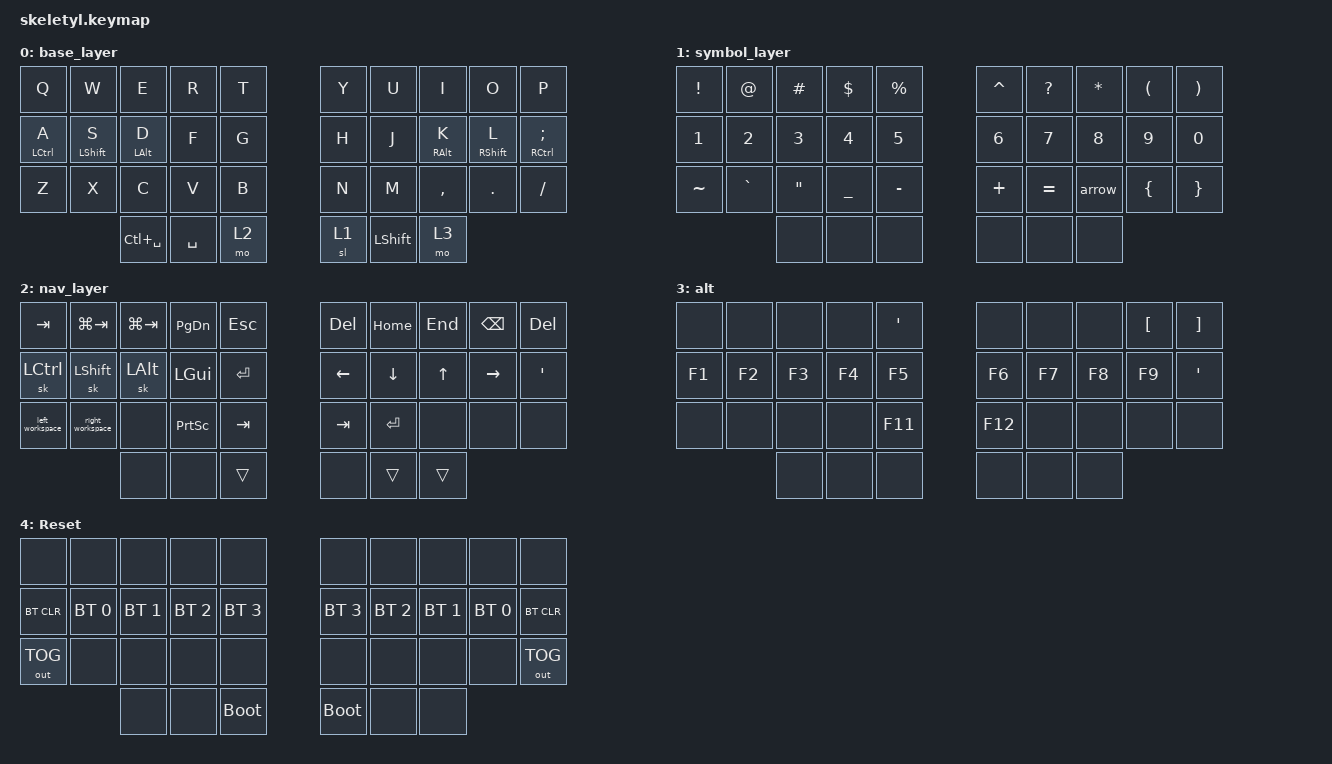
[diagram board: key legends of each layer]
#include <behaviors.dtsi>
#include <dt-bindings/zmk/bt.h>
#include <dt-bindings/zmk/keys.h>
#include <dt-bindings/zmk/outputs.h>

#define KEYS_L 0 1 2 3 4 10 11 12 13 14 20 21 22 23 24
#define KEYS_R 5 6 7 8 9 15 16 17 18 19 25 26 27 28 29
#define THUMBS 30 31 32 33 34 35
#define DEF 0
#define LWR 1
#define RSE 2
#define FUNCTION 3
#define GAME 4
#define RESET 5

&mt { flavor = "tap-preferred"; };

&lt {
    flavor = "balanced";
    tapping-term-ms = <200>;
    quick-tap-ms = <175>;
};

/ {
    behaviors {
        hml: hml {
            compatible = "zmk,behavior-hold-tap";
            #binding-cells = <2>;
            flavor = "balanced";
            tapping-term-ms = <2000>;
            quick-tap-ms = <175>;
            require-prior-idle-ms = <250>;
            hold-trigger-key-positions = <KEYS_R THUMBS>;
            hold-trigger-on-release;
            bindings = <&kp>, <&kp>;
        };

        hmr: hmr {
            compatible = "zmk,behavior-hold-tap";
            #binding-cells = <2>;
            flavor = "balanced";
            tapping-term-ms = <2000>;
            quick-tap-ms = <175>;
            require-prior-idle-ms = <250>;
            hold-trigger-key-positions = <KEYS_L THUMBS>;
            hold-trigger-on-release;
            bindings = <&kp>, <&kp>;
        };

        hml_s: hml_s {
            compatible = "zmk,behavior-hold-tap";
            #binding-cells = <2>;
            flavor = "balanced";
            tapping-term-ms = <2000>;
            quick-tap-ms = <175>;
            require-prior-idle-ms = <0>;
            hold-trigger-key-positions = <KEYS_R THUMBS>;
            hold-trigger-on-release;
            bindings = <&kp>, <&kp>;
        };

        hmr_s: hmr_s {
            compatible = "zmk,behavior-hold-tap";
            #binding-cells = <2>;
            flavor = "balanced";
            tapping-term-ms = <2000>;
            quick-tap-ms = <175>;
            require-prior-idle-ms = <0>;
            hold-trigger-key-positions = <KEYS_L THUMBS>;
            hold-trigger-on-release;
            bindings = <&kp>, <&kp>;
        };
    };

    combos {
        compatible = "zmk,combos";
        timeout-ms = <20>;
        require-prior-idle-ms = <250>;

        combo_reset_layer_left {
            key-positions = <20 24>;
            bindings = <&to 4>;
        };

        combo_reset_layer_right {
            key-positions = <25 29>;
            bindings = <&to 4>;
        };

        combo_unlock {
            key-positions = <0 4>;
            bindings = <&studio_unlock>;
        };
    };

    macros {
        arrow: arrow {
            compatible = "zmk,behavior-macro";
            #binding-cells = <0>;
            bindings = <&kp EQUAL &kp GT>;
            label = "ARROW";
        };

        left_workspace: left_workspace {
            compatible = "zmk,behavior-macro";
            #binding-cells = <0>;
            bindings = <&kp LEFT_CONTROL &kp LEFT_ALT &kp LEFT>;
            label = "LEFT_WORKSPACE";
        };

        right_workspace: right_workspace {
            compatible = "zmk,behavior-macro";
            #binding-cells = <0>;
            bindings = <&kp LEFT_CONTROL &kp LEFT_ALT &kp RIGHT>;
            label = "RIGHT_WORKSPACE";
        };

        alt_tab: alt_tab {
            compatible = "zmk,behavior-macro";
            #binding-cells = <0>;
            bindings = <&kp LEFT_ALT &kp TAB>;
            label = "ALT_TAB";
        };

        control_tab: control_tab {
            compatible = "zmk,behavior-macro";
            #binding-cells = <0>;
            bindings = <&kp LEFT_CONTROL &kp TAB>;
            label = "CONTROL_TAB";
        };
    };

    keymap {
        compatible = "zmk,keymap";

        base_layer {
            bindings = <
&kp Q                &kp W              &kp E            &kp R      &kp T  &kp Y  &kp U           &kp I             &kp O               &kp P
&hml LEFT_CONTROL A  &hml LEFT_SHIFT S  &hml LEFT_ALT D  &kp F      &kp G  &kp H  &kp J           &hmr RIGHT_ALT K  &hmr RIGHT_SHIFT L  &hmr RIGHT_CONTROL SEMICOLON
&kp Z                &kp X              &kp C            &kp V      &kp B  &kp N  &kp M           &kp COMMA         &kp DOT             &kp FSLH
                                        &kp LC(SPACE)    &kp SPACE  &mo 2  &sl 1  &kp LEFT_SHIFT  &mo 3
            >;
        };

        symbol_layer {
            bindings = <
&kp EXCLAMATION  &kp AT_SIGN   &kp HASH           &kp DOLLAR    &kp PERCENT  &kp CARET     &kp QUESTION  &kp ASTERISK  &kp LEFT_PARENTHESIS  &kp RIGHT_PARENTHESIS
&kp NUMBER_1     &kp NUMBER_2  &kp NUMBER_3       &kp NUMBER_4  &kp N5       &kp NUMBER_6  &kp N7        &kp N8        &kp N9                &kp N0
&kp TILDE        &kp GRAVE     &kp DOUBLE_QUOTES  &kp UNDER     &kp MINUS    &kp PLUS      &kp EQUAL     &arrow        &kp LEFT_BRACE        &kp RIGHT_BRACE
                               &none              &none         &none        &none         &none         &none
            >;
        };

        nav_layer {
            bindings = <
&kp TAB           &kp LG(TAB)       &kp LG(TAB)   &kp PAGE_DOWN    &kp ESCAPE  &kp DELETE  &kp HOME   &kp END       &kp BACKSPACE  &kp DEL
&sk LEFT_CONTROL  &sk LEFT_SHIFT    &sk LEFT_ALT  &kp LEFT_GUI     &kp ENTER   &kp LEFT    &kp DOWN   &kp UP_ARROW  &kp RIGHT      &kp SQT
&left_workspace   &right_workspace  &none         &kp PRINTSCREEN  &kp TAB     &kp TAB     &kp ENTER  &none         &none          &none
                                    &none         &none            &trans      &none       &trans     &trans
            >;
        };

        alt {
            bindings = <
&none   &none   &none   &none   &kp SINGLE_QUOTE  &none    &none   &none   &kp LEFT_BRACKET  &kp RIGHT_BRACKET
&kp F1  &kp F2  &kp F3  &kp F4  &kp F5            &kp F6   &kp F7  &kp F8  &kp F9            &kp SQT
&none   &none   &none   &none   &kp F11           &kp F12  &none   &none   &none             &none
                &none   &none   &none             &none    &none   &none
            >;
        };

        Reset {
            bindings = <
&none         &none         &none         &none         &none         &none         &none         &none         &none         &none
&bt BT_CLR    &bt BT_SEL 0  &bt BT_SEL 1  &bt BT_SEL 2  &bt BT_SEL 3  &bt BT_SEL 3  &bt BT_SEL 2  &bt BT_SEL 1  &bt BT_SEL 0  &bt BT_CLR
&out OUT_TOG  &none         &none         &none         &none         &none         &none         &none         &none         &out OUT_TOG
                            &none         &none         &bootloader   &bootloader   &none         &none
            >;
        };
    };
};
